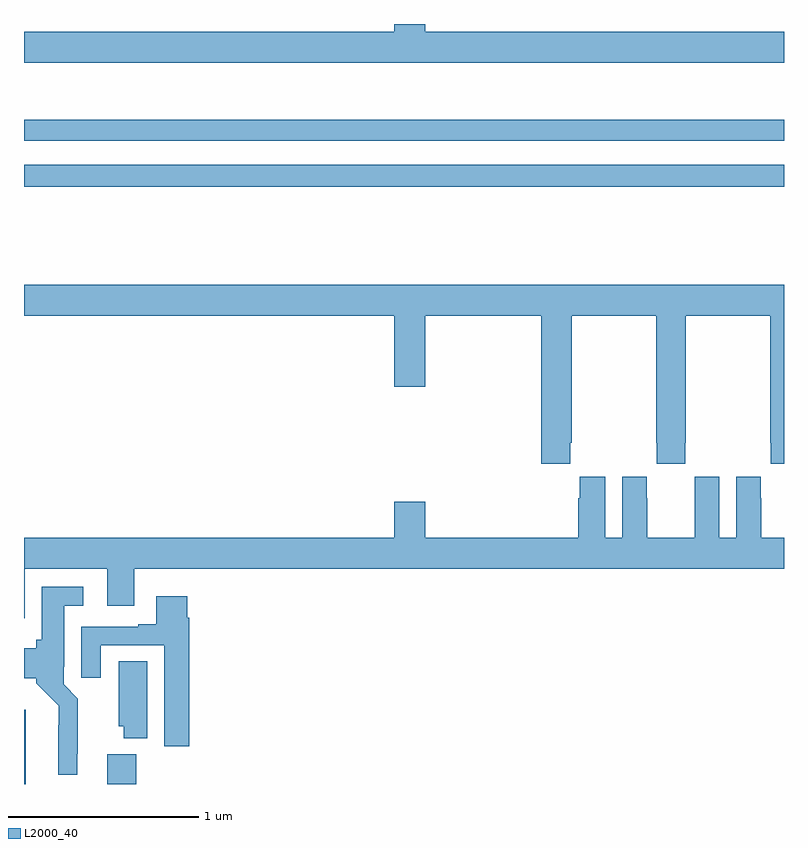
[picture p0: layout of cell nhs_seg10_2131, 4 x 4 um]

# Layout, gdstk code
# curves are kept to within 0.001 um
import gdstk
lib = gdstk.Library(unit=1e-6, precision=1e-09)
def R(c, l, rs):  # rectangles x0, y0, x1, y1
    for r in rs: c.add(gdstk.rectangle(r[:2], r[2:], *l))
def P(c, l, *ps):  # polygons
    for p in ps: c.add(gdstk.Polygon(p, *l))
L2000_40 = (2000, 40)

nhs_seg10_2131 = lib.new_cell('nhs_seg10_2131')
R(nhs_seg10_2131, L2000_40, [(223,1316.5,223.009,1316.89), (223.439,1316.5,223.592,1316.656), (223,1319.644,227,1319.76), (223,1319.886,227,1319.995)])
P(nhs_seg10_2131, L2000_40, [(227,1320.46),(225.112,1320.46),(225.112,1320.5),(224.948,1320.5),(224.948,1320.46),(223,1320.46),(223,1320.296),(227,1320.296)],
  [(225.875,1318.297),(225.882,1318.297),(225.882,1318.964),(226.327,1318.964),(226.327,1318.297),(226.329,1318.297),(226.329,1318.185),(226.479,1318.185),(226.479,1318.297),(226.482,1318.297),(226.482,1318.964),(226.927,1318.964),(226.927,1318.297),(226.929,1318.297),(226.929,1318.185),(227,1318.185),(227,1319.128),(223,1319.128),(223,1318.964),(224.948,1318.964),(224.948,1318.59),(225.112,1318.59),(225.112,1318.964),(225.722,1318.964),(225.722,1318.185),(225.875,1318.185)],
  [(223.005,1317.632),(223.439,1317.632),(223.439,1317.438),(223.579,1317.438),(223.579,1317.632),(227,1317.632),(227,1317.796),(226.879,1317.796),(226.879,1318.004),(226.878,1318.004),(226.878,1318.117),(226.748,1318.117),(226.748,1317.796),(226.66,1317.796),(226.66,1318.117),(226.53,1318.117),(226.53,1318.004),(226.529,1318.004),(226.529,1317.796),(226.279,1317.796),(226.279,1318.004),(226.278,1318.004),(226.278,1318.117),(226.148,1318.117),(226.148,1317.796),(226.06,1317.796),(226.06,1318.117),(225.926,1318.117),(225.926,1318.004),(225.917,1318.004),(225.917,1317.796),(225.112,1317.796),(225.112,1317.985),(224.948,1317.985),(224.948,1317.796),(223,1317.796),(223,1317.372),(223.005,1317.372)],
  [(223.279,1316.659),(223.283,1316.659),(223.283,1316.95),(223.209,1317.024),(223.209,1317.118),(223.213,1317.118),(223.213,1317.437),(223.312,1317.437),(223.312,1317.538),(223.094,1317.538),(223.094,1317.258),(223.064,1317.258),(223.064,1317.214),(223,1317.214),(223,1317.056),(223.064,1317.056),(223.064,1317.03),(223.182,1316.912),(223.181,1316.549),(223.279,1316.549)],
  [(223.871,1317.374),(223.858,1317.374),(223.858,1317.487),(223.697,1317.487),(223.697,1317.34),(223.601,1317.34),(223.601,1317.327),(223.301,1317.327),(223.301,1317.06),(223.405,1317.06),(223.405,1317.231),(223.739,1317.231),(223.739,1316.7),(223.871,1316.7)],
  [(223.648,1317.146),(223.499,1317.146),(223.499,1316.805),(223.526,1316.805),(223.526,1316.741),(223.648,1316.741)])

lib.write_gds('nhs_seg10_2131.gds')
